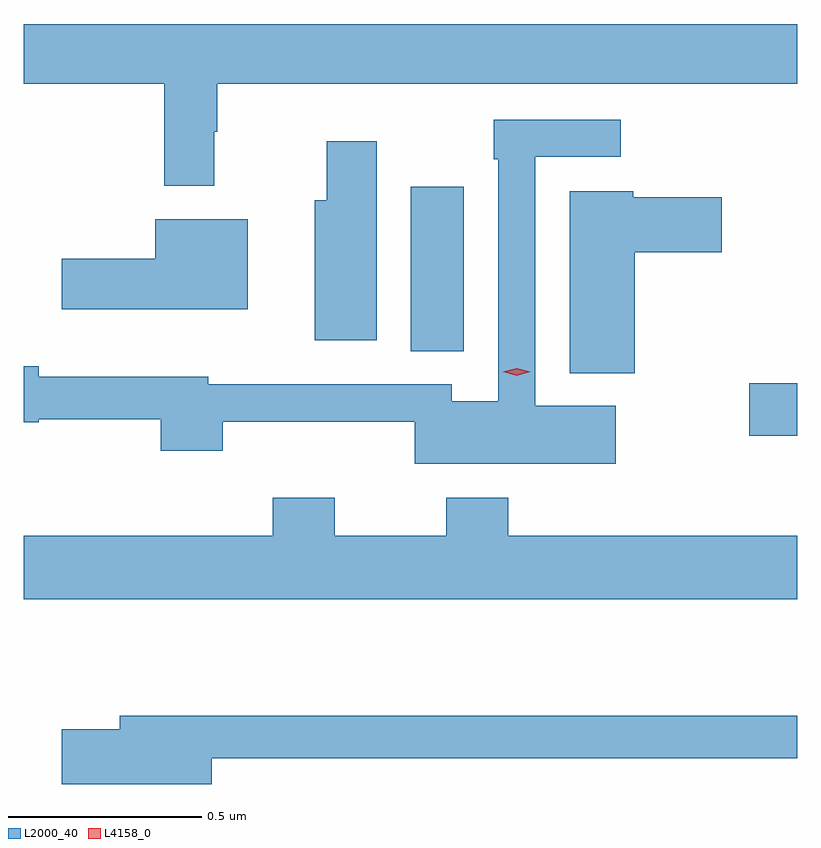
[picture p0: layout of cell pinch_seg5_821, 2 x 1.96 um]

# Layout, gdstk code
import gdstk
lib = gdstk.Library(unit=1e-6, precision=1e-09)
def R(c, l, rs):  # rectangles x0, y0, x1, y1
    for r in rs: c.add(gdstk.rectangle(r[:2], r[2:], *l))
def P(c, l, *ps):  # polygons
    for p in ps: c.add(gdstk.Polygon(p, *l))
L2000_40 = (2000, 40)
L4158_0 = (4158, 0)

pinch_seg5_821 = lib.new_cell('pinch_seg5_821')
R(pinch_seg5_821, L2000_40, [(780.498,905.135,780.623,905.27), (779.624,905.353,779.761,905.779)])
P(pinch_seg5_821, L2000_40, [(779.116,905.921),(779.123,905.921),(779.123,906.044),(780.623,906.044),(780.623,906.199),(778.623,906.199),(778.623,906.044),(778.987,906.044),(778.987,905.781),(779.116,905.781)],
  [(780.154,905.212),(779.946,905.212),(779.946,905.856),(780.166,905.856),(780.166,905.952),(779.838,905.952),(779.838,905.849),(779.85,905.849),(779.85,905.224),(779.73,905.224),(779.73,905.268),(779.1,905.268),(779.1,905.287),(778.662,905.287),(778.662,905.314),(778.623,905.314),(778.623,905.17),(778.662,905.17),(778.662,905.178),(778.978,905.178),(778.978,905.096),(779.138,905.096),(779.138,905.171),(779.634,905.171),(779.634,905.063),(780.154,905.063)],
  [(779.536,905.896),(779.407,905.896),(779.407,905.743),(779.375,905.743),(779.375,905.382),(779.536,905.382)],
  [(780.202,905.609),(780.427,905.609),(780.427,905.751),(780.198,905.751),(780.198,905.767),(780.035,905.767),(780.035,905.297),(780.202,905.297)],
  [(779.203,905.695),(778.964,905.695),(778.964,905.592),(778.722,905.592),(778.722,905.462),(779.203,905.462)],
  [(780.623,904.876),(779.876,904.876),(779.876,904.975),(779.716,904.975),(779.716,904.876),(779.427,904.876),(779.427,904.975),(779.267,904.975),(779.267,904.876),(778.623,904.876),(778.623,904.712),(780.623,904.712)],
  [(779.11,904.302),(780.623,904.302),(780.623,904.411),(778.871,904.411),(778.871,904.377),(778.722,904.377),(778.722,904.235),(779.11,904.235)])
P(pinch_seg5_821, L4158_0, [(779.897,905.29),(779.862,905.3),(779.862,905.3),(779.862,905.3),(779.897,905.31),(779.932,905.3),(779.932,905.3),(779.932,905.3)])

lib.write_gds('pinch_seg5_821.gds')
